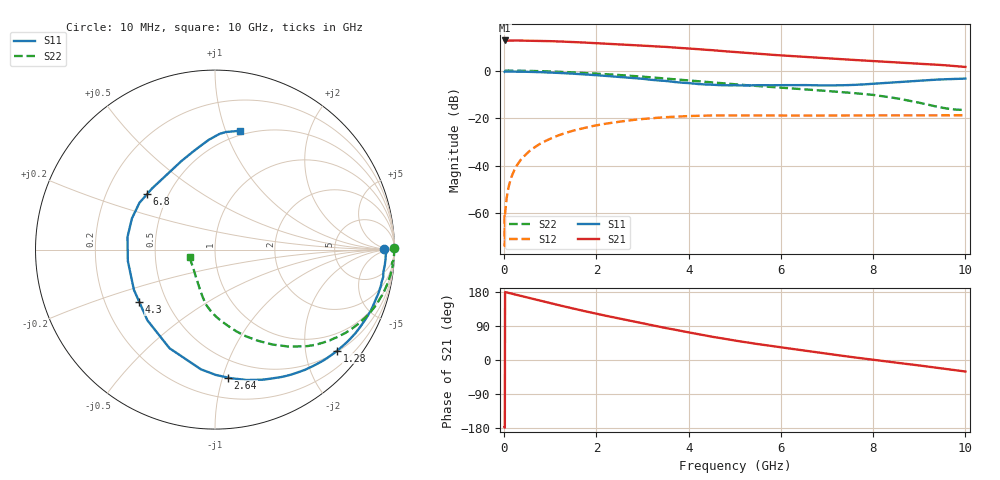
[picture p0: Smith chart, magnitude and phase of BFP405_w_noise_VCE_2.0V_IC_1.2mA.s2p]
! Infineon Technologies  Discrete & RF Semiconductors
! BFP405
! VCE =  2.0 V,  IC =  1.2 mA
! Common Emitter S-Parameters:  Jan 2016
# GHz  S  MA  R  50
!  f  S11  S21  S12  S22
! GHz  MAG  ANG  MAG  ANG  MAG  ANG  MAG  ANG
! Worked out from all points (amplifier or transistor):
!   233 points, 10 MHz to 10 GHz, reference 50 ohm
!   highest |S21| = 12.7 dB at 10 MHz (marker M1)
!   |S21| within 3 dB of that: start of sweep to 3.698 GHz
!   unconditionally stable (mu >= 1): 14.56 MHz to 15.22 MHz; 4.964 GHz to end of sweep
!   at 200 MHz: K = 0.03, MSG = 27.7 dB, |S12| = -42.9 dB
!   at 1.74 GHz: K = 0.24, MSG = 18.0 dB, |S12| = -24.1 dB
!   at 10 GHz: K = 1.93, MAG = 4.6 dB, |S12| = -18.8 dB
!   lowest NFmin = 0.75 dB at 900 MHz
!   S11 on the Smith chart (normalised r, x): 10 MHz: 32, +3; 1.28 GHz: 0.52, -2.69; 2.64 GHz: 0.36, -1.04; 4.3 GHz: 0.35, -0.28; 6.8 GHz: 0.38, +0.31; 10 GHz: 0.46, +1.13
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0.01  0.9397 0.3  4.308 -176.9  0.0009 -67.7  1 0.6
0.015  0.9488 -0.0  4.281 -178.8  0.0002 12.3  0.9974 0.4
0.02  0.9579 -0.3  4.258 179.2  0.0009 92.3  0.9949 0.1
0.04  0.9536 -1.2  4.255 178.9  0.0016 87.3  0.997 -0.3
0.07  0.9517 -2.2  4.267 178.0  0.0026 87.7  0.9981 -0.9
0.16  0.9501 -4.8  4.28 175.4  0.0058 87.7  0.9963 -2.7
0.32  0.9481 -9.8  4.283 170.6  0.0117 85.1  0.9938 -5.4
0.8  0.9249 -24.6  4.217 156.1  0.0294 76.8  0.9715 -13.6
1.28  0.8834 -39.6  4.072 142.0  0.0467 67.8  0.9352 -21.6
1.68  0.8392 -52.4  3.92 130.8  0.0602 60.3  0.8966 -27.8
2.2  0.774 -69.4  3.698 116.9  0.0759 50.8  0.8404 -35.2
2.64  0.7166 -84.2  3.507 105.8  0.0874 43.0  0.789 -41.3
3  0.6717 -96.7  3.363 96.9  0.0956 36.8  0.7449 -46.2
3.4  0.6131 -110.9  3.185 87.1  0.1025 30.0  0.6921 -51.3
4  0.5451 -133.7  2.927 72.7  0.1101 20.6  0.6171 -58.9
4.3  0.5129 -145.3  2.774 66.2  0.1118 16.4  0.5828 -62.3
4.5  0.5042 -153.7  2.693 61.5  0.1133 13.6  0.5612 -64.8
5.1  0.4874 -175.7  2.417 49.4  0.114 6.5  0.5041 -71.3
6  0.4945 159.4  2.09 33.4  0.1129 -1.3  0.4362 -79.6
6.8  0.4887 140.8  1.868 19.9  0.1127 -6.2  0.384 -87.3
8.4  0.56 102.5  1.5 -5.5  0.1139 -15.1  0.2706 -104.9
10  0.6773 77.9  1.191 -30.4  0.1143 -21.2  0.148 -163.2
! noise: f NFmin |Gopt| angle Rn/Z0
0.9  0.75  0.69  15  0.52
1.8  1.17  0.55  31  0.46
2.4  1.43  0.45  42  0.42
3  1.52  0.46  56  0.39
4  1.76  0.33  84  0.29
5  2.09  0.3  121  0.2
